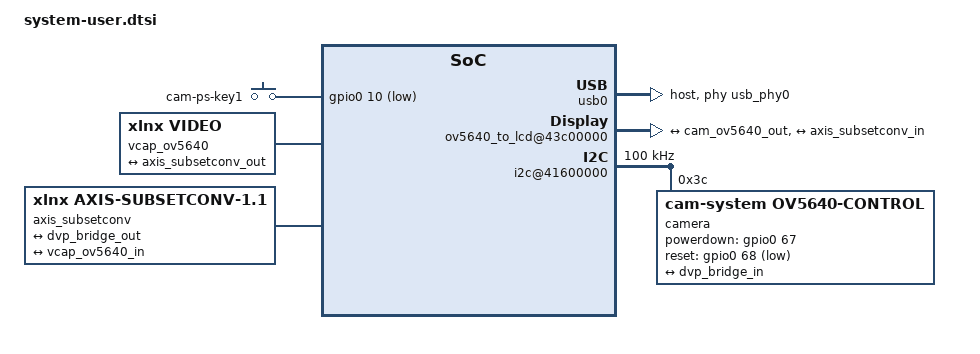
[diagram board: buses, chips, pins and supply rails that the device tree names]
/include/ "system-conf.dtsi"

/ {
    usb_phy0: phy0@e0002000 {
        compatible = "ulpi-phy";
        #phy-cells = <0>;
        reg = <0xe0002000 0x1000>;
        view-port = <0x0170>;
        drv-vbus;
    };

    ov5640_xclk: ov5640-xclk {
        compatible = "fixed-clock";
        #clock-cells = <0>;
        clock-frequency = <24000000>;
    };

    cam_ps_keys: gpio-keys {
        compatible = "gpio-keys";
        pinctrl-names = "default";
        pinctrl-0 = <&pinctrl_ps_key1_default>;

        ps-key1 {
            label = "cam-ps-key1";
            gpios = <&gpio0 10 1>;
            linux,code = <148>;
            debounce-interval = <20>;
        };
    };

    reserved-memory {
        #address-cells = <1>;
        #size-cells = <1>;
        ranges;

        framebuf_reserved: framebuffer@3F000000 {
            compatible = "shared-dma-pool";
            reg = <0x3F000000 0x01000000>;
            no-map;
        };

    };

    vcap_ov5640: video-cap {
        compatible = "xlnx,video";
        dmas = <&camera_v_frmbuf_wr_0 0>;
        dma-names = "port0";
        memory-region = <&framebuf_reserved>;

        ports {
            #address-cells = <1>;
            #size-cells = <0>;

            port@0 {
                reg = <0>;
                direction = "input";

                vcap_ov5640_in: endpoint {
                    remote-endpoint = <&axis_subsetconv_out>;
                };
            };
        };
    };

    axis_subsetconv: axis-subset-converter {
        compatible = "xlnx,axis-subsetconv-1.1";

        ports {
            #address-cells = <1>;
            #size-cells = <0>;

            port@0 {
                reg = <0>;

                axis_subsetconv_in: endpoint {
                    remote-endpoint = <&dvp_bridge_out>;
                };
            };

            port@1 {
                reg = <1>;

                axis_subsetconv_out: endpoint {
                    remote-endpoint = <&vcap_ov5640_in>;
                };
            };
        };
    };
};

&pinctrl0 {
    pinctrl_ps_key1_default: ps-key1-default {
        mux {
            groups = "gpio0_10_grp";
            function = "gpio0";
        };

        conf {
            pins = "MIO10";
            bias-pull-up;
        };
    };
};

&usb0   { dr_mode = "host"; usb-phy = <&usb_phy0>; };
&can0   { status = "disabled"; };
&uart1  { status = "disabled"; };
&gem1   { status = "disabled"; };
&sdhci1 { status = "disabled"; };

&amba_pl {
    v_frmbuf_wr@43c10000   { status = "okay"; };

    ov5640_to_lcd@43c00000 {
        compatible = "cam-system,dvp-rgb565-rgb888-bridge", "xlnx,ov5640-to-lcd-1.0";
        status = "okay";

        ports {
            #address-cells = <1>;
            #size-cells = <0>;

            port@0 {
                reg = <0>;

                dvp_bridge_in: endpoint {
                    remote-endpoint = <&cam_ov5640_out>;
                };
            };

            port@1 {
                reg = <1>;

                dvp_bridge_out: endpoint {
                    remote-endpoint = <&axis_subsetconv_in>;
                };
            };
        };
    };

    i2c@41600000 {
        clock-frequency = <100000>;
        #address-cells = <1>;
        #size-cells = <0>;

        camera@3c {
            compatible = "cam-system,ov5640-control";
            reg = <0x3c>;
            clocks = <&ov5640_xclk>;
            clock-names = "xclk";
            powerdown-gpios = <&gpio0 67 0>;
            reset-gpios = <&gpio0 68 1>;

            port {
                cam_ov5640_out: endpoint {
                    remote-endpoint = <&dvp_bridge_in>;
                    bus-width = <8>;
                };
            };
        };
    };
};
